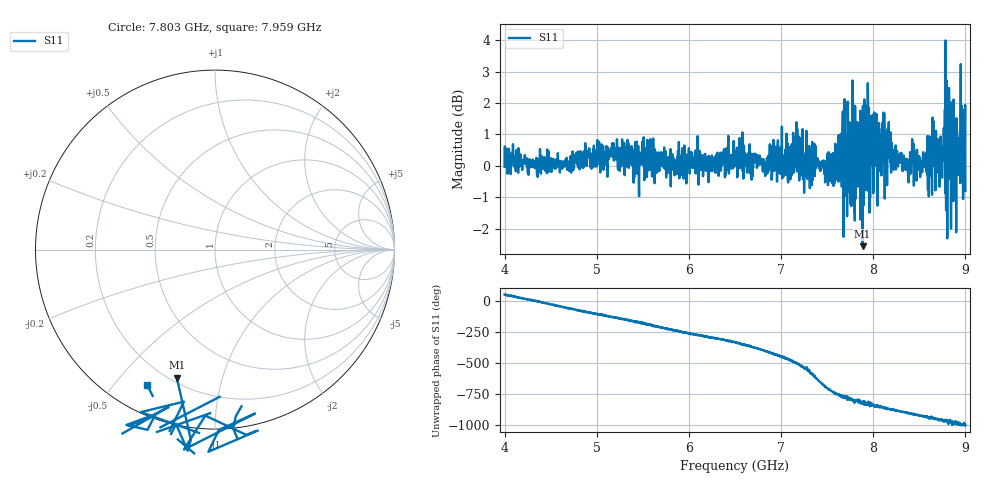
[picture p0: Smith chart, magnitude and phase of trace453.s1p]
! Created with skrf 1.8.0 (http://scikit-rf.org).
# Hz S RI R 50.0
!freq ReS11 ImS11
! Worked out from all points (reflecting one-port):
!   1601 points, 4 GHz to 9 GHz, reference 50 ohm
!   lowest |S11| = -2.6 dB at 7.884 GHz (marker M1), VSWR 6.83, Z = 11.2 - j36 ohm
!   phase of S11 starts at 51 deg and turns -1053 deg over the sweep
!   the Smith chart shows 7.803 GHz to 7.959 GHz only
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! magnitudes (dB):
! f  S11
! 4 GHz  0.0
! 4.625 GHz  -0.1
! 5.25 GHz  -0.2
! 5.875 GHz  0.3
! 6.5 GHz  0.4
! 7.125 GHz  0.4
! 7.372 GHz  0.6
! 7.503 GHz  0.0
! 7.597 GHz  -0.4
! 7.65 GHz  -0.4
! 7.75 GHz  -1.2
! 7.884 GHz  -2.6
! 7.909 GHz  1.1
! 7.928 GHz  0.6
! 7.941 GHz  2.6
! 7.962 GHz  1.6
! 7.981 GHz  0.0
! 8.009 GHz  0.7
! 8.066 GHz  0.3
! 8.097 GHz  0.1
! 8.375 GHz  0.0
! 8.631 GHz  0.5
! 8.728 GHz  0.4
! 8.759 GHz  0.4
! 8.834 GHz  0.8
! 8.875 GHz  0.0
! 8.972 GHz  1.2
! 9 GHz  -0.8
